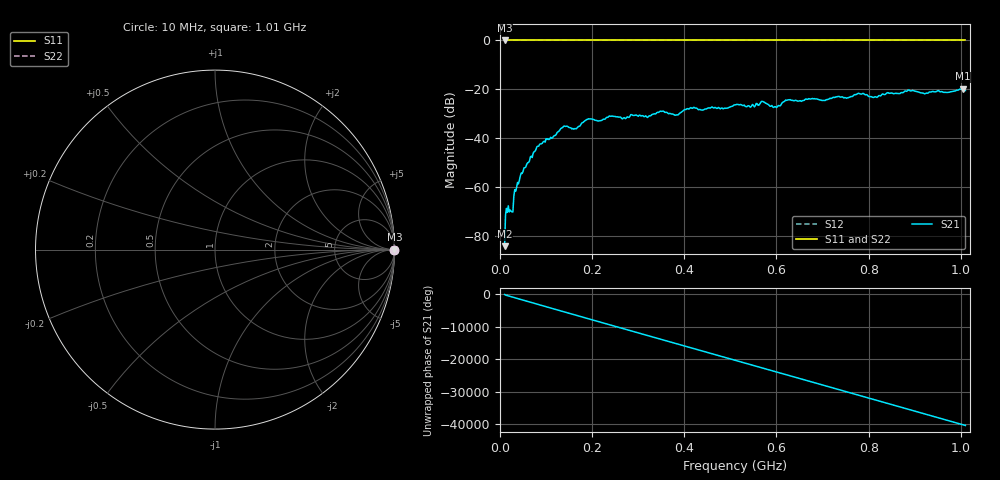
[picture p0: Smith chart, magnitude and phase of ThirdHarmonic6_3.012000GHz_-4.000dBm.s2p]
! 8/17/2025 8:38:31 AM
! C:\ANRITSUVNA\TEMP\TEMP.S2P
! CHANNEL.1
! TR.MEASUREMENT
! RAW.DATA
! RF.CORRECTION.OFF
! AVERAGING.OFF
! IF.BANDWIDTH: 5KHZ
! SWEEPTYPE:  FREQ.SWEEP(Linear)
! Reference Plane Port Info
! PORT:  PORT1  PORT2
! DISTANCE:  0  m  0  m
! TIME:  0  s  0  s
! PHASE.OFFSET:  0  deg.  0  deg.
! LOSS:  0  dB  0  dB
! REF.LOSS:  0  dB  0  dB
! REF.FREQ:  0  Hz  0  Hz
! Power Info
! POWER:  -20  dBm  -20  dBm
! EFF.POWER:  -20  dBm  -20  dBm
! SOURCE.ATTEN:  0  dB  0  dB
! TEST.ATTEN:  0  dB  0  dB
# GHZ S RI R 50.0
! FREQ.GHZ  S11RE  S11IM  S21RE  S21IM  S12RE  S12IM  S22RE  S22IM
!; PortSelection: Port_12
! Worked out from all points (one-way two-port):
!   501 points, 10 MHz to 1.01 GHz, reference 50 ohm
!   highest |S21| = -19.76 dB at 1.004 GHz (marker M1); lowest = -84.2 dB at 10 MHz (marker M2)
!   lowest |S11| = 0.0 dB at 10 MHz (marker M3)
!   |S11| at or under -10 dB: nowhere
!   |S22| runs from 0.0 to 0.0 dB; largest |S21 - S12| = 1.1
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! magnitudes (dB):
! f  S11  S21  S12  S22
! 10 MHz  0.0  -84.2  0.0  0.0
! 16 MHz  0.0  -70.3  0.0  0.0
! 24 MHz  0.0  -69.9  0.0  0.0
! 34 MHz  0.0  -61.7  0.0  0.0
! 48 MHz  0.0  -54.4  0.0  0.0
! 82 MHz  0.0  -43.3  0.0  0.0
! 136 MHz  0.0  -35.6  0.0  0.0
! 162 MHz  0.0  -36.1  0.0  0.0
! 178 MHz  0.0  -33.7  0.0  0.0
! 192 MHz  0.0  -32.1  0.0  0.0
! 322 MHz  0.0  -31.2  0.0  0.0
! 344 MHz  0.0  -29.4  0.0  0.0
! 382 MHz  0.0  -30.5  0.0  0.0
! 416 MHz  0.0  -27.7  0.0  0.0
! 510 MHz  0.0  -26.3  0.0  0.0
! 570 MHz  0.0  -24.9  0.0  0.0
! 598 MHz  0.0  -27.1  0.0  0.0
! 624 MHz  0.0  -24.4  0.0  0.0
! 678 MHz  0.0  -23.7  0.0  0.0
! 844 MHz  0.0  -21.6  0.0  0.0
! 1.004 GHz  0.0  -19.8  0.0  0.0
! 1.01 GHz  0.0  -20.5  0.0  0.0
